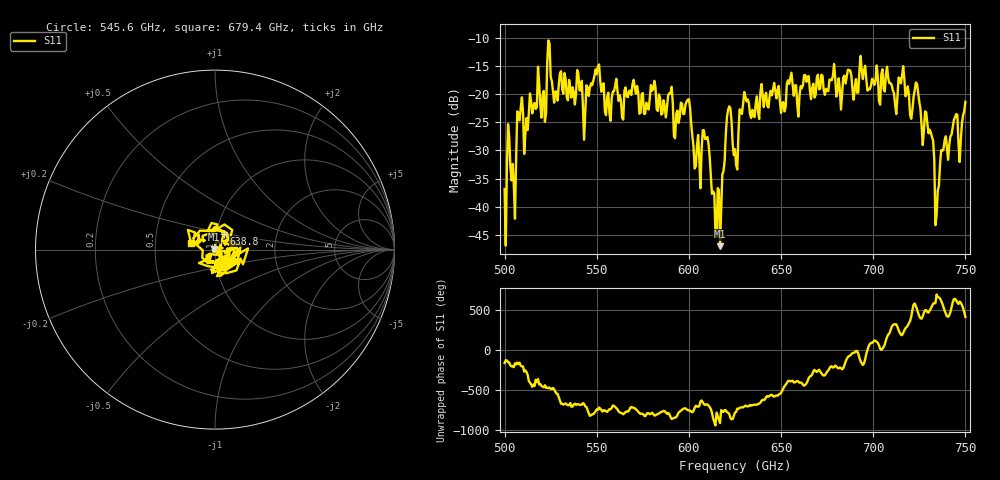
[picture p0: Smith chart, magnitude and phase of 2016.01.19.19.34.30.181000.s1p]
!Created with skrf (http://scikit-rf.org).
# GHz S RI R 50.0
!freq ReS11 ImS11
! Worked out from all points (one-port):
!   401 points, 500 GHz to 750 GHz, reference 50 ohm
!   lowest |S11| = -47.0 dB at 616.9 GHz (marker M1), VSWR 1.01, Z = 49.6 + j0.0863 ohm
!   |S11| at or under -10 dB: start of sweep to end of sweep
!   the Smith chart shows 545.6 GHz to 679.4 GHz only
!   S11 on the Smith chart (normalised r, x): 545.6 GHz: 1.06, -0.19; 638.8 GHz: 1.09, +0.20; 679.4 GHz: 0.76, +0.06
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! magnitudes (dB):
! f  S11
! 500 GHz  -36.9
! 502.5 GHz  -27.6
! 505 GHz  -36.1
! 508.1 GHz  -24.6
! 521.2 GHz  -19.4
! 524.4 GHz  -11.0
! 527.5 GHz  -19.5
! 531.2 GHz  -19.1
! 545.6 GHz  -20.3
! 562.5 GHz  -20.2
! 593.8 GHz  -22.9
! 599.4 GHz  -21.0
! 605 GHz  -27.2
! 608.8 GHz  -27.9
! 613.8 GHz  -37.7
! 616.9 GHz  -47.0
! 621.2 GHz  -22.8
! 625 GHz  -29.8
! 629.4 GHz  -21.8
! 638.8 GHz  -19.8
! 656.2 GHz  -18.3
! 679.4 GHz  -17.2
! 687.5 GHz  -15.8
! 718.8 GHz  -18.6
! 729.4 GHz  -25.3
! 735 GHz  -37.1
! 738.1 GHz  -29.8
! 750 GHz  -21.4
